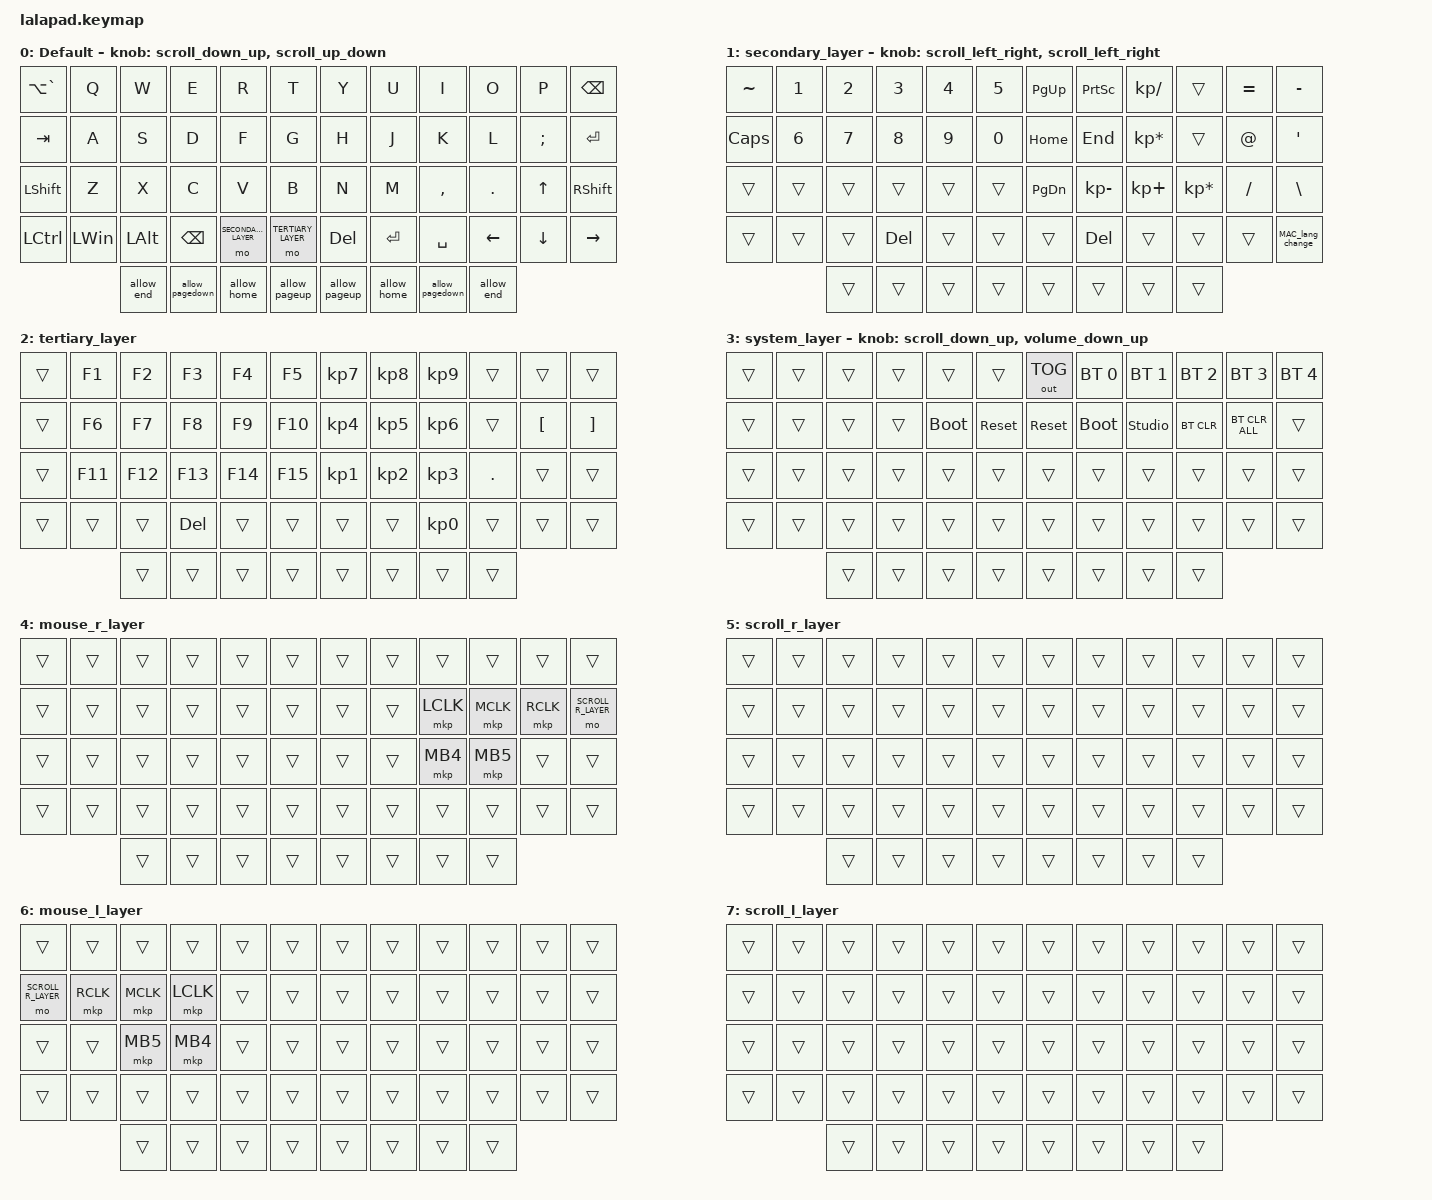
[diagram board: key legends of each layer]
#include <input/processors.dtsi>
#include <behaviors.dtsi>
#include <dt-bindings/zmk/bt.h>
#include <dt-bindings/zmk/keys.h>
#include <dt-bindings/zmk/outputs.h>
#include <dt-bindings/zmk/pointing.h>

#define DEFAULT_LAYER   0
#define SECONDARY_LAYER 1
#define TERTIARY_LAYER  2
#define SYSTEM_LAYER    3
#define MOUSE_R_LAYER   4
#define SCROLL_R_LAYER  5
#define MOUSE_L_LAYER   6
#define SCROLL_L_LAYER  7

// Mouse Scroll Value

#define ZMK_POINTING_DEFAULT_SCRL_VAL 100

// cirque trackpad input&layer control

&glidepoint_listener_R {
    input-processors =
        <&zip_xy_transform (INPUT_TRANSFORM_XY_SWAP | INPUT_TRANSFORM_X_INVERT | INPUT_TRANSFORM_Y_INVERT)>,
        <&zip_xy_scaler 6 2>,
        <&zip_temp_layer MOUSE_R_LAYER 500>;

    lowspeedmode {
        layers = <SECONDARY_LAYER>;
        input-processors =
            <&zip_xy_transform (INPUT_TRANSFORM_XY_SWAP | INPUT_TRANSFORM_X_INVERT | INPUT_TRANSFORM_Y_INVERT)>,
            <&zip_xy_scaler 3 5>,
            <&zip_temp_layer MOUSE_R_LAYER 500>;
    };

    scroller {
        layers = <SCROLL_R_LAYER>;
        input-processors =
            <&zip_xy_to_scroll_mapper>,
            <&zip_scroll_transform (INPUT_TRANSFORM_XY_SWAP | INPUT_TRANSFORM_Y_INVERT)>,
            <&zip_scroll_scaler 1 8>;
    };
};

&glidepoint_listener_L {
    input-processors =
        <&zip_xy_transform (INPUT_TRANSFORM_XY_SWAP | INPUT_TRANSFORM_X_INVERT | INPUT_TRANSFORM_Y_INVERT)>,
        <&zip_xy_scaler 3 2>,
        <&zip_temp_layer MOUSE_L_LAYER 500>;

    lowspeedmode {
        layers = <SECONDARY_LAYER>;
        input-processors =
            <&zip_xy_transform (INPUT_TRANSFORM_XY_SWAP | INPUT_TRANSFORM_X_INVERT | INPUT_TRANSFORM_Y_INVERT)>,
            <&zip_xy_scaler 3 4>,
            <&zip_temp_layer MOUSE_L_LAYER 500>;
    };

    scroller {
        layers = <SCROLL_L_LAYER>;
        input-processors =
            <&zip_xy_to_scroll_mapper>,
            <&zip_scroll_transform (INPUT_TRANSFORM_XY_SWAP | INPUT_TRANSFORM_Y_INVERT)>,
            <&zip_scroll_scaler 1 6>;
    };
};

/ {
    behaviors {
        // Encoder to Mouse Scroll

        scroll_up_down: behavior_sensor_rotate_mouse_wheel_up_down {
            compatible = "zmk,behavior-sensor-rotate";
            #sensor-binding-cells = <0>;
            bindings = <&msc SCRL_UP>, <&msc SCRL_DOWN>;

            tap-ms = <20>;
        };

        scroll_down_up: behavior_sensor_rotate_mouse_wheel_down_up {
            compatible = "zmk,behavior-sensor-rotate";
            #sensor-binding-cells = <0>;
            bindings = <&msc SCRL_DOWN>, <&msc SCRL_UP>;

            tap-ms = <20>;
        };

        scroll_left_right: behavior_sensor_rotate_mouse_wheel_left_right {
            compatible = "zmk,behavior-sensor-rotate";
            #sensor-binding-cells = <0>;
            bindings = <&msc SCRL_LEFT>, <&msc SCRL_RIGHT>;

            tap-ms = <20>;
        };

        scroll_right_left: behavior_sensor_rotate_mouse_wheel_right_left {
            compatible = "zmk,behavior-sensor-rotate";
            #sensor-binding-cells = <0>;
            bindings = <&msc SCRL_RIGHT>, <&msc SCRL_LEFT>;

            tap-ms = <20>;
        };

        volume_up_down: behavior_sensor_rotate_volume_up_down {
            compatible = "zmk,behavior-sensor-rotate";
            #sensor-binding-cells = <0>;
            bindings = <&kp C_VOLUME_UP>, <&kp C_VOLUME_DOWN>;

            tap-ms = <20>;
        };

        dot_comma: dot_comma {
            compatible = "zmk,behavior-mod-morph";
            #binding-cells = <0>;
            bindings = <&kp KP_DOT>, <&kp COMMA>;

            mods = <(MOD_LSFT|MOD_RSFT)>;
            label = "DOT_COMMA";
        };

        pls_minus: pls_minus {
            compatible = "zmk,behavior-mod-morph";
            #binding-cells = <0>;
            bindings = <&kp PLUS>, <&kp MINUS>;

            mods = <(MOD_LSFT|MOD_RSFT)>;
            label = "PLS_MINUS";
        };

        allow_pageup: allow_pageup {
            compatible = "zmk,behavior-mod-morph";
            #binding-cells = <0>;
            bindings = <&kp UP>, <&kp PAGE_UP>;

            mods = <(MOD_LCTL|MOD_RCTL)>;
            label = "ALLOW_PAGEUP";
        };

        allow_pagedown: allow_pagedown {
            compatible = "zmk,behavior-mod-morph";
            #binding-cells = <0>;
            bindings = <&kp DOWN>, <&kp PAGE_DOWN>;

            mods = <(MOD_LCTL|MOD_RCTL)>;
            label = "ALLOW_PAGEDOWN";
        };

        allow_home: allow_home {
            compatible = "zmk,behavior-mod-morph";
            #binding-cells = <0>;
            bindings = <&kp LEFT>, <&kp HOME>;

            mods = <(MOD_LCTL|MOD_RCTL)>;
            label = "ALLOW_HOME";
        };

        allow_end: allow_end {
            compatible = "zmk,behavior-mod-morph";
            #binding-cells = <0>;
            bindings = <&kp RIGHT>, <&kp END>;

            mods = <(MOD_LCTL|MOD_RCTL)>;
            label = "ALLOW_END";
        };

        mt2: mod_tap2 {
            compatible = "zmk,behavior-hold-tap";
            #binding-cells = <2>;
            flavor = "tap-preferred";
            tapping-term-ms = <200>;
            quick-tap-ms = <200>;
            require-prior-idle-ms = <125>;
            bindings = <&kp>, <&kp>;
        };

        volume_down_up: behavior_sensor_rotate_volume_u {
            compatible = "zmk,behavior-sensor-rotate";
            #sensor-binding-cells = <0>;
            bindings = <&kp C_VOLUME_DOWN>, <&kp C_VOLUME_UP>;

            tap-ms = <20>;
            label = "behavior_sensor_rotate_volume_down_up";
        };
    };

    combos {
        compatible = "zmk,combos";

        kana {
            bindings = <&kp LANG1>;
            key-positions = <0 2>;
        };

        eng {
            bindings = <&kp LANG2>;
            key-positions = <0 1 2>;
        };

        LangToggle {
            bindings = <&kp ESC>;
            key-positions = <0 1>;
        };

        ctrl-h {
            bindings = <&kp LC(H)>;
            key-positions = <17 16>;
        };

        SystemLayer3 {
            bindings = <&mo 3>;
            key-positions = <40 41>;
        };
    };

    macros {
        MAC_lang_change: lang_change {
            compatible = "zmk,behavior-macro";
            #binding-cells = <0>;
            bindings =
                <&macro_press>,
                <&kp LEFT_ALT &kp LA(TILDE)>,
                <&macro_wait_time 20>,
                <&macro_release>;

            label = "LANG_CHANGE";
        };
    };

    keymap {
        compatible = "zmk,keymap";

        DEFAULT_LAYER {
            display-name = "Default";
            sensor-bindings = <&scroll_down_up>, <&scroll_up_down>;

            bindings = <
&kp LA(GRAVE)  &kp Q         &kp W         &kp E            &kp R                &kp T               &kp Y          &kp U        &kp I            &kp O       &kp P         &kp BACKSPACE
&kp TAB        &kp A         &kp S         &kp D            &kp F                &kp G               &kp H          &kp J        &kp K            &kp L       &kp SEMI      &kp ENTER
&kp LSHFT      &kp Z         &kp X         &kp C            &kp V                &kp B               &kp N          &kp M        &kp COMMA        &kp PERIOD  &kp UP_ARROW  &kp RIGHT_SHIFT
&kp LCTRL      &kp LEFT_WIN  &kp LEFT_ALT  &kp BACKSPACE    &mo SECONDARY_LAYER  &mo TERTIARY_LAYER  &kp DELETE     &kp ENTER    &kp SPACE        &kp LEFT    &kp DOWN      &kp RIGHT
                             &allow_end    &allow_pagedown  &allow_home          &allow_pageup       &allow_pageup  &allow_home  &allow_pagedown  &allow_end
            >;
        };

        SECONDARY_LAYER {
            display-name = "secondary_layer";
            sensor-bindings = <&scroll_left_right>, <&scroll_left_right>;

            bindings = <
&kp TILDE     &kp NUMBER_1  &kp NUMBER_2  &kp NUMBER_3  &kp NUMBER_4  &kp NUMBER_5  &kp PAGE_UP    &kp PRINTSCREEN  &kp KP_SLASH     &trans           &kp EQUAL    &kp MINUS
&kp CAPSLOCK  &kp NUMBER_6  &kp NUMBER_7  &kp NUMBER_8  &kp NUMBER_9  &kp NUMBER_0  &kp HOME       &kp END          &kp KP_ASTERISK  &trans           &kp AT_SIGN  &kp SQT
&trans        &trans        &trans        &trans        &trans        &trans        &kp PAGE_DOWN  &kp KP_MINUS     &kp KP_PLUS      &kp KP_MULTIPLY  &kp SLASH    &kp BACKSLASH
&trans        &trans        &trans        &kp DELETE    &trans        &trans        &trans         &kp DELETE       &trans           &trans           &trans       &MAC_lang_change
                            &trans        &trans        &trans        &trans        &trans         &trans           &trans           &trans
            >;
        };

        TERTIARY_LAYER {
            display-name = "tertiary_layer";
            bindings = <
&trans  &kp F1   &kp F2   &kp F3      &kp F4   &kp F5   &kp KP_NUMBER_7  &kp KP_NUMBER_8  &kp KP_NUMBER_9  &trans   &trans            &trans
&trans  &kp F6   &kp F7   &kp F8      &kp F9   &kp F10  &kp KP_NUMBER_4  &kp KP_NUMBER_5  &kp KP_NUMBER_6  &trans   &kp LEFT_BRACKET  &kp RIGHT_BRACKET
&trans  &kp F11  &kp F12  &kp F13     &kp F14  &kp F15  &kp KP_NUMBER_1  &kp KP_NUMBER_2  &kp KP_NUMBER_3  &kp DOT  &trans            &trans
&trans  &trans   &trans   &kp DELETE  &trans   &trans   &trans           &trans           &kp KP_NUMBER_0  &trans   &trans            &trans
                 &trans   &trans      &trans   &trans   &trans           &trans           &trans           &trans
            >;
        };

        SYSTEM_LAYER {
            display-name = "system_layer";
            sensor-bindings = <&scroll_down_up>, <&volume_down_up>;

            bindings = <
&trans  &trans  &trans  &trans  &trans       &trans      &out OUT_TOG  &bt BT_SEL 0  &bt BT_SEL 1    &bt BT_SEL 2  &bt BT_SEL 3    &bt BT_SEL 4
&trans  &trans  &trans  &trans  &bootloader  &sys_reset  &sys_reset    &bootloader   &studio_unlock  &bt BT_CLR    &bt BT_CLR_ALL  &trans
&trans  &trans  &trans  &trans  &trans       &trans      &trans        &trans        &trans          &trans        &trans          &trans
&trans  &trans  &trans  &trans  &trans       &trans      &trans        &trans        &trans          &trans        &trans          &trans
                &trans  &trans  &trans       &trans      &trans        &trans        &trans          &trans
            >;
        };

        MOUSE_R_LAYER {
            display-name = "mouse_r_layer";
            bindings = <
&trans  &trans  &trans  &trans  &trans  &trans  &trans  &trans  &trans     &trans     &trans     &trans
&trans  &trans  &trans  &trans  &trans  &trans  &trans  &trans  &mkp LCLK  &mkp MCLK  &mkp RCLK  &mo SCROLL_R_LAYER
&trans  &trans  &trans  &trans  &trans  &trans  &trans  &trans  &mkp MB4   &mkp MB5   &trans     &trans
&trans  &trans  &trans  &trans  &trans  &trans  &trans  &trans  &trans     &trans     &trans     &trans
                &trans  &trans  &trans  &trans  &trans  &trans  &trans     &trans
            >;
        };

        SCROLL_R_LAYER {
            display-name = "scroll_r_layer";
            bindings = <
&trans  &trans  &trans  &trans  &trans  &trans  &trans  &trans  &trans  &trans  &trans  &trans
&trans  &trans  &trans  &trans  &trans  &trans  &trans  &trans  &trans  &trans  &trans  &trans
&trans  &trans  &trans  &trans  &trans  &trans  &trans  &trans  &trans  &trans  &trans  &trans
&trans  &trans  &trans  &trans  &trans  &trans  &trans  &trans  &trans  &trans  &trans  &trans
                &trans  &trans  &trans  &trans  &trans  &trans  &trans  &trans
            >;
        };

        MOUSE_L_LAYER {
            display-name = "mouse_l_layer";
            bindings = <
&trans              &trans     &trans     &trans     &trans  &trans  &trans  &trans  &trans  &trans  &trans  &trans
&mo SCROLL_R_LAYER  &mkp RCLK  &mkp MCLK  &mkp LCLK  &trans  &trans  &trans  &trans  &trans  &trans  &trans  &trans
&trans              &trans     &mkp MB5   &mkp MB4   &trans  &trans  &trans  &trans  &trans  &trans  &trans  &trans
&trans              &trans     &trans     &trans     &trans  &trans  &trans  &trans  &trans  &trans  &trans  &trans
                               &trans     &trans     &trans  &trans  &trans  &trans  &trans  &trans
            >;
        };

        SCROLL_L_LAYER {
            display-name = "scroll_l_layer";
            bindings = <
&trans  &trans  &trans  &trans  &trans  &trans  &trans  &trans  &trans  &trans  &trans  &trans
&trans  &trans  &trans  &trans  &trans  &trans  &trans  &trans  &trans  &trans  &trans  &trans
&trans  &trans  &trans  &trans  &trans  &trans  &trans  &trans  &trans  &trans  &trans  &trans
&trans  &trans  &trans  &trans  &trans  &trans  &trans  &trans  &trans  &trans  &trans  &trans
                &trans  &trans  &trans  &trans  &trans  &trans  &trans  &trans
            >;
        };
    };
};
